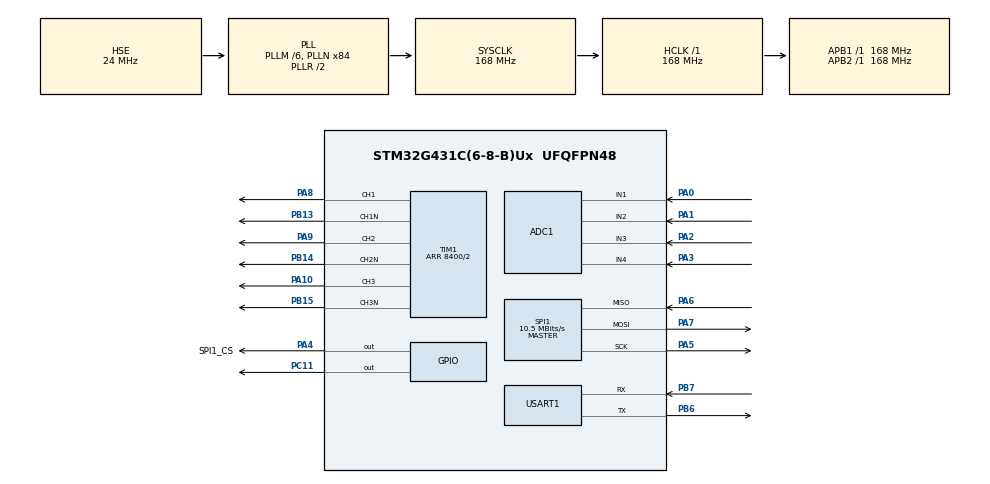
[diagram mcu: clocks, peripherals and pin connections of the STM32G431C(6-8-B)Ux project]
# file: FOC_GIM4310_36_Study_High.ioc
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ADC1.EnableInjectedConversion=ENABLE
ADC1.EnableRegularConversion=DISABLE
ADC1.ExternalTrigInjecConv=ADC_EXTERNALTRIGINJEC_T1_CC4
ADC1.ExternalTrigInjecConvEdge=ADC_EXTERNALTRIGINJECCONV_EDGE_FALLING
ADC1.InjNumberOfConversion=4
ADC1.InjectedChannel-1\#ChannelInjectedConversion=ADC_CHANNEL_1
ADC1.InjectedChannel-2\#ChannelInjectedConversion=ADC_CHANNEL_2
ADC1.InjectedChannel-3\#ChannelInjectedConversion=ADC_CHANNEL_3
ADC1.InjectedChannel-4\#ChannelInjectedConversion=ADC_CHANNEL_4
ADC1.InjectedOffsetNumber-1\#ChannelInjectedConversion=ADC_OFFSET_NONE
ADC1.InjectedOffsetNumber-2\#ChannelInjectedConversion=ADC_OFFSET_NONE
ADC1.InjectedOffsetNumber-3\#ChannelInjectedConversion=ADC_OFFSET_NONE
ADC1.InjectedOffsetNumber-4\#ChannelInjectedConversion=ADC_OFFSET_NONE
ADC1.InjectedRank-1\#ChannelInjectedConversion=1
ADC1.InjectedRank-2\#ChannelInjectedConversion=2
ADC1.InjectedRank-3\#ChannelInjectedConversion=3
ADC1.InjectedRank-4\#ChannelInjectedConversion=4
ADC1.InjectedSamplingTime-1\#ChannelInjectedConversion=ADC_SAMPLETIME_6CYCLES_5
ADC1.InjectedSamplingTime-2\#ChannelInjectedConversion=ADC_SAMPLETIME_6CYCLES_5
ADC1.InjectedSamplingTime-3\#ChannelInjectedConversion=ADC_SAMPLETIME_6CYCLES_5
ADC1.InjectedSamplingTime-4\#ChannelInjectedConversion=ADC_SAMPLETIME_6CYCLES_5
ADC1.Rank1_Channel=ADC_CHANNEL_1
ADC1.Rank2_Channel=ADC_CHANNEL_2
ADC1.Rank3_Channel=ADC_CHANNEL_3
ADC1.Rank4_Channel=ADC_CHANNEL_4
ADC1.master=1
Mcu.Family=STM32G4
Mcu.Name=STM32G431C(6-8-B)Ux
Mcu.Package=UFQFPN48
NVIC.ADC1_2_IRQn=true\:0\:0\:false\:false\:true\:true\:true\:true
NVIC.PriorityGroup=NVIC_PRIORITYGROUP_4
PA0.Mode=IN1-Single-Ended
PA0.Signal=ADC1_IN1
PA1.Mode=IN2-Single-Ended
PA1.Signal=ADC1_IN2
PA10.Signal=S_TIM1_CH3
PA13.Mode=Serial_Wire
PA13.Signal=SYS_JTMS-SWDIO
PA14.Mode=Serial_Wire
PA14.Signal=SYS_JTCK-SWCLK
PA2.Mode=IN3-Single-Ended
PA2.Signal=ADC1_IN3
PA3.Mode=IN4-Single-Ended
PA3.Signal=ADC1_IN4
PA4.GPIO_Label=SPI1_CS
PA4.GPIO_Speed=GPIO_SPEED_FREQ_VERY_HIGH
PA4.PinState=GPIO_PIN_SET
PA4.Signal=GPIO_Output
PA5.GPIO_Speed=GPIO_SPEED_FREQ_VERY_HIGH
PA5.Mode=Full_Duplex_Master
PA5.Signal=SPI1_SCK
PA6.GPIO_Speed=GPIO_SPEED_FREQ_VERY_HIGH
PA6.Mode=Full_Duplex_Master
PA6.Signal=SPI1_MISO
PA7.GPIO_Speed=GPIO_SPEED_FREQ_VERY_HIGH
PA7.Mode=Full_Duplex_Master
PA7.Signal=SPI1_MOSI
PA8.Signal=S_TIM1_CH1
PA9.Signal=S_TIM1_CH2
PB13.Mode=PWM Generation1 CH1 CH1N
PB13.Signal=TIM1_CH1N
PB14.Mode=PWM Generation2 CH2 CH2N
PB14.Signal=TIM1_CH2N
PB15.Mode=PWM Generation3 CH3 CH3N
PB15.Signal=TIM1_CH3N
PB6.Mode=Asynchronous
PB6.Signal=USART1_TX
PB7.Mode=Asynchronous
PB7.Signal=USART1_RX
PC11.GPIO_PuPd=GPIO_NOPULL
PC11.Signal=GPIO_Output
PF0-OSC_IN.Mode=HSE-External-Oscillator
PF0-OSC_IN.Signal=RCC_OSC_IN
PF1-OSC_OUT.Mode=HSE-External-Oscillator
PF1-OSC_OUT.Signal=RCC_OSC_OUT
ProjectManager.HeapSize=0x200
ProjectManager.StackSize=0x400
ProjectManager.TargetToolchain=MDK-ARM V5.32
RCC.ADC12Freq_Value=168000000
RCC.AHBFreq_Value=168000000
RCC.APB1Freq_Value=168000000
RCC.APB1TimFreq_Value=168000000
RCC.APB2Freq_Value=168000000
RCC.APB2TimFreq_Value=168000000
RCC.CortexFreq_Value=168000000
RCC.EXTERNAL_CLOCK_VALUE=12288000
RCC.HCLKFreq_Value=168000000
RCC.HSE_VALUE=24000000
RCC.HSI48_VALUE=48000000
RCC.HSI_VALUE=16000000
RCC.LSE_VALUE=32768
RCC.PLLM=RCC_PLLM_DIV6
RCC.PLLN=84
RCC.PLLSourceVirtual=RCC_PLLSOURCE_HSE
RCC.SYSCLKFreq_VALUE=168000000
RCC.SYSCLKSource=RCC_SYSCLKSOURCE_PLLCLK
RCC.USBFreq_Value=168000000
RCC.VCOOutputFreq_Value=336000000
SH.S_TIM1_CH1.0=TIM1_CH1,PWM Generation1 CH1 CH1N
SH.S_TIM1_CH2.0=TIM1_CH2,PWM Generation2 CH2 CH2N
SH.S_TIM1_CH3.0=TIM1_CH3,PWM Generation3 CH3 CH3N
SPI1.BaudRatePrescaler=SPI_BAUDRATEPRESCALER_16
SPI1.CLKPhase=SPI_PHASE_2EDGE
SPI1.CalculateBaudRate=10.5 MBits/s
SPI1.DataSize=SPI_DATASIZE_8BIT
SPI1.Direction=SPI_DIRECTION_2LINES
SPI1.Mode=SPI_MODE_MASTER
SPI1.VirtualType=VM_MASTER
STMicroelectronics.X-CUBE-ALGOBUILD.1.4.0.LibraryCcDSPOoLibraryJjDSPOoLibrary=true
TIM1.AutoReloadPreload=TIM_AUTORELOAD_PRELOAD_ENABLE
TIM1.AutomaticOutput=TIM_AUTOMATICOUTPUT_ENABLE
TIM1.Channel-PWM\ Generation1\ CH1\ CH1N=TIM_CHANNEL_1
TIM1.Channel-PWM\ Generation2\ CH2\ CH2N=TIM_CHANNEL_2
TIM1.Channel-PWM\ Generation3\ CH3\ CH3N=TIM_CHANNEL_3
TIM1.Channel-PWM\ Generation4\ No\ Output=TIM_CHANNEL_4
TIM1.CounterMode=TIM_COUNTERMODE_CENTERALIGNED1
TIM1.LockLevel=TIM_LOCKLEVEL_1
TIM1.OCMode_PWM-PWM\ Generation1\ CH1\ CH1N=TIM_OCMODE_PWM2
TIM1.OCMode_PWM-PWM\ Generation2\ CH2\ CH2N=TIM_OCMODE_PWM2
TIM1.OCMode_PWM-PWM\ Generation3\ CH3\ CH3N=TIM_OCMODE_PWM2
TIM1.OCMode_PWM-PWM\ Generation4\ No\ Output=TIM_OCMODE_PWM2
TIM1.OffStateIDLEMode=TIM_OSSI_ENABLE
TIM1.OffStateRunMode=TIM_OSSR_ENABLE
TIM1.PeriodNoDither=8400/2
TIM1.PulseNoDither_1=2100
TIM1.PulseNoDither_2=2100
TIM1.PulseNoDither_3=2100
TIM1.PulseNoDither_4=250
TIM1.RepetitionCounter=0
TIM1.TIM_MasterOutputTrigger=TIM_TRGO_OC4REF
USART1.VirtualMode-Asynchronous=VM_ASYNC
VP_CORDIC_VS_CORDIC.Mode=CORDIC_Activate
VP_STMicroelectronics.X-CUBE-ALGOBUILD_VS_DSPOoLibraryJjLibrary_1.4.0_1.4.0.Mode=DSPOoLibraryJjLibrary
VP_SYS_VS_DBSignals.Mode=DisableDeadBatterySignals
VP_TIM1_VS_ClockSourceINT.Mode=Internal
VP_TIM1_VS_no_output4.Mode=PWM Generation4 No Output
board=custom

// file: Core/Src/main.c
/* USER CODE BEGIN Header */
/**
  ******************************************************************************
  * @file           : main.c
  * @brief          : Main program body
  ******************************************************************************
  * @attention
  *
  * Copyright (c) 2026 STMicroelectronics.
  * All rights reserved.
  *
  * This software is licensed under terms that can be found in the LICENSE file
  * in the root directory of this software component.
  * If no LICENSE file comes with this software, it is provided AS-IS.
  *
  ******************************************************************************
  */
/* USER CODE END Header */
#include "main.h"
#include "adc.h"
#include "cordic.h"
#include "spi.h"
#include "tim.h"
#include "usart.h"
#include "gpio.h"

/* USER CODE BEGIN Includes */

#include "Start_Init.h"
#include "type.h"
#include "MotorID.h"
#include "usermain.h"

/* USER CODE END Includes */

/* USER CODE BEGIN PV */

Motor_Param motor_param;              //电机参数结构体
SPWM_Param spwm_param;                //SPWM生成的过程参数
ADCTask_Param adctask_param;          //ADC采样任务参数
EncoderTask_Param encodertask_param;  //编码器任务结构体
Motor_Flag motor_flag;                //电机标志位结构体
SVPWM_Param svpwm_param;              //SPWM生成的过程参数
PID_Param pid_param;                  //PID参数结构体

MotorID_Param rsid_param;                //电阻辨析结构体参数
ScanFre_Sample scanfre_buff[1200];       //扫频法数据存储区
ScanFre_Param scanfre_param;             //扫频法测带宽结构体
EncoderNLCal_Param enc_nlcal_param;      //编码器非线性化校准结构体
SpeedDOB_Param speeddob_param;           //扰动观测器结构体

uint16_t ADC1InjectDate[4];    //注入组采样数组

float freq_array[130];
uint16_t fre_cnt = 1;

/* USER CODE END PV */

void SystemClock_Config(void);

int main(void)
{

  /* MCU Configuration--------------------------------------------------------*/

  /* Reset of all peripherals, Initializes the Flash interface and the Systick. */
  HAL_Init();

  /* Configure the system clock */
  SystemClock_Config();

  /* Initialize all configured peripherals */
  MX_GPIO_Init();
  MX_CORDIC_Init();
  MX_ADC1_Init();
  MX_TIM1_Init();
  MX_SPI1_Init();
  MX_USART1_UART_Init();
  /* USER CODE BEGIN 2 */

  Start_Init();    //外设初始化

	generate_bode_frequencies(100,4000,130,freq_array);

//	if(!generate_bode_frequencies(100,2000,70,freq_array))
//	{
//		print_and_verify_frequencies(freq_array, 70);
//	}
//	else
//	{
//		printf("频率生成失败\n");
//	}

  /* USER CODE END 2 */

  /* Infinite loop */
  while (1)
  {

    /* USER CODE BEGIN 3 */

		if(scanfre_param.done_flag == 1)
		{
			ScanFrequence_PrintBuff();
			if(fre_cnt<130)
			{
				scanfre_param.frequence_hz = freq_array[fre_cnt];
				fre_cnt++;
				scanfre_param.start_flag=0;
				scanfre_param.scanfre_state = SCANFRE_IDLE;
			}
			scanfre_param.done_flag =0;
		}

		Encoder_NLCal_PrintTask(&enc_nlcal_param);

  }
  /* USER CODE END 3 */
}

void SystemClock_Config(void)
{
  RCC_OscInitTypeDef RCC_OscInitStruct = {0};
  RCC_ClkInitTypeDef RCC_ClkInitStruct = {0};

  /** Configure the main internal regulator output voltage
  */
  HAL_PWREx_ControlVoltageScaling(PWR_REGULATOR_VOLTAGE_SCALE1_BOOST);

  /** Initializes the RCC Oscillators according to the specified parameters
  * in the RCC_OscInitTypeDef structure.
  */
  RCC_OscInitStruct.OscillatorType = RCC_OSCILLATORTYPE_HSE;
  RCC_OscInitStruct.HSEState = RCC_HSE_ON;
  RCC_OscInitStruct.PLL.PLLState = RCC_PLL_ON;
  RCC_OscInitStruct.PLL.PLLSource = RCC_PLLSOURCE_HSE;
  RCC_OscInitStruct.PLL.PLLM = RCC_PLLM_DIV6;
  RCC_OscInitStruct.PLL.PLLN = 84;
  RCC_OscInitStruct.PLL.PLLP = RCC_PLLP_DIV2;
  RCC_OscInitStruct.PLL.PLLQ = RCC_PLLQ_DIV2;
  RCC_OscInitStruct.PLL.PLLR = RCC_PLLR_DIV2;
  if (HAL_RCC_OscConfig(&RCC_OscInitStruct) != HAL_OK)
  {
    Error_Handler();
  }

  /** Initializes the CPU, AHB and APB buses clocks
  */
  RCC_ClkInitStruct.ClockType = RCC_CLOCKTYPE_HCLK|RCC_CLOCKTYPE_SYSCLK
                              |RCC_CLOCKTYPE_PCLK1|RCC_CLOCKTYPE_PCLK2;
  RCC_ClkInitStruct.SYSCLKSource = RCC_SYSCLKSOURCE_PLLCLK;
  RCC_ClkInitStruct.AHBCLKDivider = RCC_SYSCLK_DIV1;
  RCC_ClkInitStruct.APB1CLKDivider = RCC_HCLK_DIV1;
  RCC_ClkInitStruct.APB2CLKDivider = RCC_HCLK_DIV1;

  if (HAL_RCC_ClockConfig(&RCC_ClkInitStruct, FLASH_LATENCY_4) != HAL_OK)
  {
    Error_Handler();
  }
}

void Error_Handler(void)
{
  __disable_irq();
  while (1)
  {
  }
}
